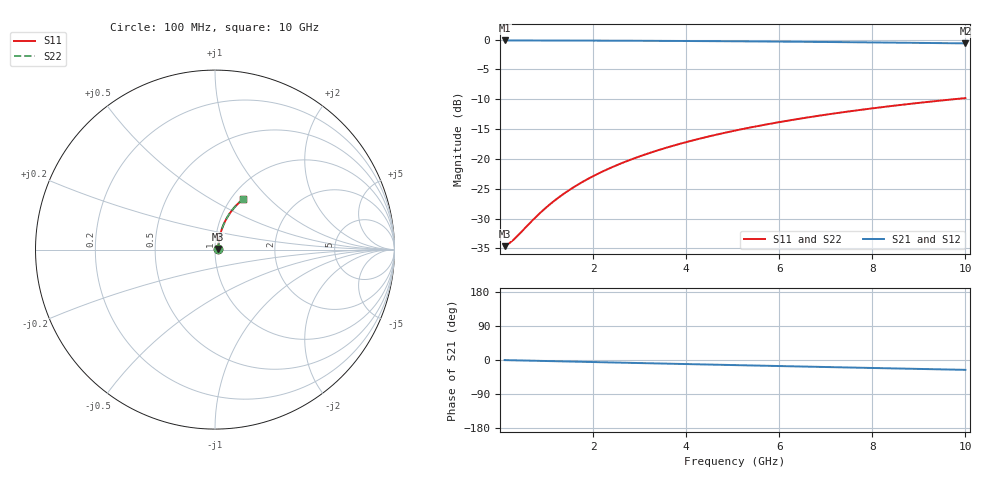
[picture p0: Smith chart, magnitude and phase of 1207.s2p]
# Hz S RI R 50.00
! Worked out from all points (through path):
!   100 points, 100 MHz to 10 GHz, reference 50 ohm
!   highest |S21| = -0.16 dB at 100 MHz (marker M1); lowest = -0.7 dB at 10 GHz (marker M2)
!   group delay of S21, straight-line fit = 7.24 ps
!   lowest |S11| = -34.6 dB at 100 MHz (marker M3), VSWR 1.04, Z = 51.9 + j0.351 ohm
!   |S11| at or under -10 dB: start of sweep to 9.76 GHz
!   |S22| runs from -34.6 to -9.8 dB; largest |S21 - S12| = 0
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1e8  0.0183 0.00338  0.9817 -0.00462  0.9817 -0.00462  0.0183 0.00338
2e8  0.0184 0.00675  0.9816 -0.00924  0.9816 -0.00924  0.0184 0.00675
3e8  0.0186 0.0101  0.9814 -0.0139  0.9814 -0.0139  0.0186 0.0101
8e8  0.0197 0.027  0.9802 -0.0369  0.9802 -0.0369  0.0197 0.027
9e8  0.0201 0.0303  0.9799 -0.0415  0.9799 -0.0415  0.0201 0.0303
1.1e9  0.0208 0.037  0.9791 -0.0507  0.9791 -0.0507  0.0208 0.037
1.4e9  0.022 0.0471  0.9778 -0.0644  0.9778 -0.0644  0.022 0.0471
1.6e9  0.023 0.0537  0.9767 -0.0736  0.9767 -0.0736  0.023 0.0537
1.8e9  0.0242 0.0603  0.9756 -0.0827  0.9756 -0.0827  0.0242 0.0603
2.1e9  0.0261 0.0702  0.9736 -0.0963  0.9736 -0.0963  0.0261 0.0702
2.5e9  0.029 0.0833  0.9705 -0.1143  0.9705 -0.1143  0.029 0.0833
2.9e9  0.0325 0.0962  0.9668 -0.1322  0.9668 -0.1322  0.0325 0.0962
3.4e9  0.0374 0.1121  0.9617 -0.1544  0.9617 -0.1544  0.0374 0.1121
3.8e9  0.0419 0.1247  0.957 -0.1719  0.957 -0.1719  0.0419 0.1247
4.2e9  0.0468 0.137  0.9518 -0.1892  0.9518 -0.1892  0.0468 0.137
4.6e9  0.0521 0.149  0.9462 -0.2062  0.9462 -0.2062  0.0521 0.149
5.1e9  0.0594 0.1637  0.9386 -0.2272  0.9386 -0.2272  0.0594 0.1637
5.9e9  0.0722 0.1864  0.925 -0.2598  0.925 -0.2598  0.0722 0.1864
6.7e9  0.0866 0.2078  0.9098 -0.2913  0.9098 -0.2913  0.0866 0.2078
7.5e9  0.1022 0.228  0.8933 -0.3215  0.8933 -0.3215  0.1022 0.228
8.4e9  0.1212 0.249  0.8731 -0.3538  0.8731 -0.3538  0.1212 0.249
1e10  0.158 0.2817  0.8339 -0.4067  0.8339 -0.4067  0.158 0.2817
